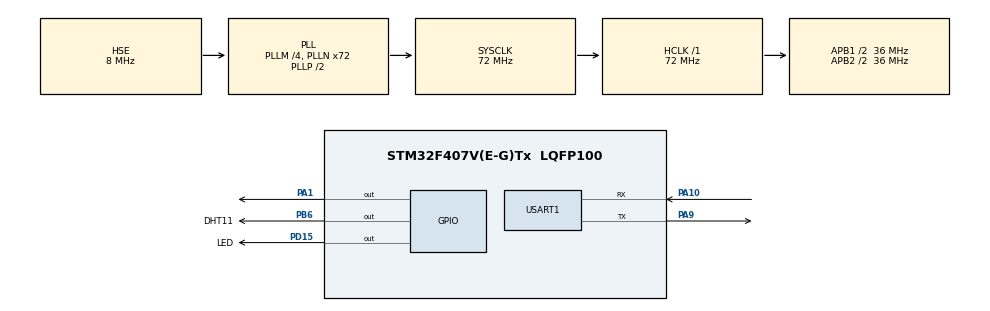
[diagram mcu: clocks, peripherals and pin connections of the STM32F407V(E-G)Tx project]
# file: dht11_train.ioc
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Mcu.Family=STM32F4
Mcu.Name=STM32F407V(E-G)Tx
Mcu.Package=LQFP100
NVIC.PriorityGroup=NVIC_PRIORITYGROUP_0
PA1.Signal=GPIO_Output
PA10.Mode=Asynchronous
PA10.Signal=USART1_RX
PA9.Mode=Asynchronous
PA9.Signal=USART1_TX
PB6.GPIO_Label=DHT11
PB6.Signal=GPIO_Output
PD15.GPIO_Label=LED
PD15.Signal=GPIO_Output
PH0-OSC_IN.Mode=HSE-External-Oscillator
PH0-OSC_IN.Signal=RCC_OSC_IN
PH1-OSC_OUT.Mode=HSE-External-Oscillator
PH1-OSC_OUT.Signal=RCC_OSC_OUT
ProjectManager.HeapSize=0x200
ProjectManager.StackSize=0x400
ProjectManager.TargetToolchain=STM32CubeIDE
RCC.48MHZClocksFreq_Value=20571428.57142857
RCC.AHBFreq_Value=72000000
RCC.APB1CLKDivider=RCC_HCLK_DIV2
RCC.APB1Freq_Value=36000000
RCC.APB1TimFreq_Value=72000000
RCC.APB2CLKDivider=RCC_HCLK_DIV2
RCC.APB2Freq_Value=36000000
RCC.APB2TimFreq_Value=72000000
RCC.CortexFreq_Value=72000000
RCC.HCLKFreq_Value=72000000
RCC.HSE_VALUE=8000000
RCC.HSI_VALUE=16000000
RCC.LSE_VALUE=32768
RCC.PLLM=4
RCC.PLLN=72
RCC.PLLQ=7
RCC.PLLSourceVirtual=RCC_PLLSOURCE_HSE
RCC.SYSCLKFreq_VALUE=72000000
RCC.SYSCLKSource=RCC_SYSCLKSOURCE_PLLCLK
RCC.VCOOutputFreq_Value=144000000
TIM4.Period=65535
TIM4.Prescaler=72
USART1.VirtualMode=VM_ASYNC
VP_TIM4_VS_ClockSourceITR.Mode=TriggerSource_ITR0
board=STM32F407G-DISC1

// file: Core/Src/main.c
/* USER CODE BEGIN Header */
/**
  ******************************************************************************
  * @file           : main.c
  * @brief          : Main program body
  ******************************************************************************
  * @attention
  *
  * <h2><center>&copy; Copyright (c) 2021 STMicroelectronics.
  * All rights reserved.</center></h2>
  *
  * This software component is licensed by ST under BSD 3-Clause license,
  * the "License"; You may not use this file except in compliance with the
  * License. You may obtain a copy of the License at:
  *                        opensource.org/licenses/BSD-3-Clause
  *
  ******************************************************************************
  */
/* USER CODE END Header */
#include "main.h"

/* USER CODE BEGIN Includes */
#include <stdio.h>
/* USER CODE END Includes */

TIM_HandleTypeDef htim4;

UART_HandleTypeDef huart1;

void SystemClock_Config(void);
static void MX_GPIO_Init(void);
static void MX_TIM4_Init(void);
static void MX_USART1_UART_Init(void);

/* USER CODE BEGIN 0 */
char sendBuff[64], sendBuff2[64];
uint8_t recArr[64], recData;
uint8_t buffLen, buffLen2, buffCnt = 0;
//uint8_t dhtval[2];

const char API_KEY[] = "YM62ECVTEWEA0HZ3";
const char WIFI_NAME[] = "Necoooo";
const char WIFI_PASSW[] = "12345678";

#define OUTPUT 1
#define INPUT 0
/*
//set DHT pin direction with given parameter
void set_gpio_mode(uint8_t pMode)
{
	GPIO_InitTypeDef GPIO_InitStruct = {0};

	//if direction parameter OUTPUT
	if(pMode == OUTPUT)
	{
	/*Configure GPIO pins : LD3_Pin LD2_Pin
	  GPIO_InitStruct.Pin = DHT11_Pin;
	  GPIO_InitStruct.Mode = GPIO_MODE_OUTPUT_PP;
	  GPIO_InitStruct.Pull = GPIO_NOPULL;
	  GPIO_InitStruct.Speed = GPIO_SPEED_FREQ_HIGH;
	  HAL_GPIO_Init(GPIOB, &GPIO_InitStruct);
	}else if(pMode == INPUT)   //else if direction parameter INPUT
	{
	  GPIO_InitStruct.Pin = DHT11_Pin;
	  GPIO_InitStruct.Mode = GPIO_MODE_INPUT;
	  GPIO_InitStruct.Pull = GPIO_NOPULL;
	  GPIO_InitStruct.Speed = GPIO_SPEED_FREQ_HIGH;
	  HAL_GPIO_Init(GPIOB, &GPIO_InitStruct);
	}
}

//give microsecond delay
void mDelay(uint32_t mDelay)
{
	uint16_t initTime = (uint16_t)__HAL_TIM_GET_COUNTER(&htim4);			//get initial time
	while(((uint16_t)__HAL_TIM_GET_COUNTER(&htim4)-initTime) < mDelay){		//wait until (time now - inital time == 0)
	}
}

// readDHT11 funciton
uint8_t readDHT11(uint8_t *pData)
{
	uint16_t mTime1 = 0, mTime2 = 0, mBit = 0;
	uint8_t humVal = 0, tempVal = 0, parityVal = 0, genParity = 0;
	uint8_t mData[40];

	//start comm
	set_gpio_mode(OUTPUT);			//set pin direction as input
	HAL_GPIO_WritePin(DHT11_GPIO_Port, DHT11_Pin, GPIO_PIN_RESET);
	HAL_Delay(20);					//wait 20 ms in Low state
	set_gpio_mode(INPUT);			//set pin direction as input

	//check dht answer
	__HAL_TIM_SET_COUNTER(&htim4, 0);				//set timer counter to zero
	while(HAL_GPIO_ReadPin(DHT11_GPIO_Port, DHT11_Pin) == GPIO_PIN_SET) if((uint16_t)__HAL_TIM_GET_COUNTER(&htim4) > 500) return 0;
	__HAL_TIM_SET_COUNTER(&htim4, 0);
	while(HAL_GPIO_ReadPin(DHT11_GPIO_Port, DHT11_Pin) == GPIO_PIN_RESET) if((uint16_t)__HAL_TIM_GET_COUNTER(&htim4) > 500) return 0;
	mTime1 = (uint16_t)__HAL_TIM_GET_COUNTER(&htim4);
	__HAL_TIM_SET_COUNTER(&htim4, 0);
	while(HAL_GPIO_ReadPin(DHT11_GPIO_Port, DHT11_Pin) == GPIO_PIN_SET) if((uint16_t)__HAL_TIM_GET_COUNTER(&htim4) > 500) return 0;
	mTime2 = (uint16_t)__HAL_TIM_GET_COUNTER(&htim4);

	//if answer is wrong return
	if(mTime1 < 75 && mTime1 > 85 && mTime2 < 75 && mTime2 > 85)
	{
		return 0;
	}

	HAL_GPIO_WritePin(LED_GPIO_Port, LED_Pin, GPIO_PIN_RESET);
	for(int j = 0; j < 40; j++)
	{
		__HAL_TIM_SET_COUNTER(&htim4, 0);
		while(HAL_GPIO_ReadPin(DHT11_GPIO_Port, DHT11_Pin) == GPIO_PIN_RESET) if((uint16_t)__HAL_TIM_GET_COUNTER(&htim4) > 500) return 0;
		__HAL_TIM_SET_COUNTER(&htim4, 0);
		while(HAL_GPIO_ReadPin(DHT11_GPIO_Port, DHT11_Pin) == GPIO_PIN_SET) if((uint16_t)__HAL_TIM_GET_COUNTER(&htim4) > 500) return 0;
		mTime1 = (uint16_t)__HAL_TIM_GET_COUNTER(&htim4);

		//check pass time in high state
		//if pass time 25uS set as LOW

		if(mTime1 > 20 && mTime1 < 30)
		{
			mBit = 0;
		}
		else if(mTime1 > 60 && mTime1 < 80) //if pass time 70 uS set as HIGH
		{
			 mBit = 1;
		}

		//set i th data in data buffer
		mData[j] = mBit;

	}

	//get hum value from data buffer
	for(int i = 0; i < 8; i++)
	{
		humVal += mData[i];
		humVal = humVal << 1;
	}

	//get temp value from data buffer
	for(int i = 16; i < 24; i++)
	{
		tempVal += mData[i];
		tempVal = tempVal << 1;
	}

	//get parity value from data buffer
	for(int i = 32; i < 40; i++)
	{
		parityVal += mData[i];
		parityVal = parityVal << 1;
	}

	parityVal = parityVal >> 1;
	humVal = humVal >> 1;
	tempVal = tempVal >> 1;

	genParity = humVal + tempVal;

	if(genParity == parityVal)

	HAL_GPIO_WritePin(LED_GPIO_Port, LED_Pin, GPIO_PIN_SET);

	pData[0] = tempVal;
	pData[1] = humVal;

	return 1;
}
*/
void HAL_UART_RxCpltCallback(UART_HandleTypeDef *huart)
{
	recArr[buffCnt++] = recData;
	if(buffCnt == 64) buffCnt = 0;
	HAL_UART_Receive_IT(&huart1, &recData, 1);
}

/* USER CODE END 0 */

int main(void)
{

  /* MCU Configuration--------------------------------------------------------*/

  /* Reset of all peripherals, Initializes the Flash interface and the Systick. */
  HAL_Init();

  /* Configure the system clock */
  SystemClock_Config();

  /* Initialize all configured peripherals */
  MX_GPIO_Init();
  MX_TIM4_Init();
  MX_USART1_UART_Init();
  /* USER CODE BEGIN 2 */
  HAL_TIM_Base_Start(&htim4);

  // Wifi Connection
  buffLen = sprintf(sendBuff, "AT+CWMODE_CUR=1\r\n");
  HAL_UART_Transmit(&huart1, (uint8_t *)sendBuff, buffLen, 1000);

  buffLen = sprintf(sendBuff, "AT+CWLAP\r\n");
  HAL_UART_Transmit(&huart1, (uint8_t *)sendBuff, buffLen, 1000);

  HAL_Delay(2000);

  buffLen = sprintf(sendBuff, "AT+CWJAP_CUR=\"%s\",\"%s\"\r\n", WIFI_NAME, WIFI_PASSW);
  HAL_UART_Transmit(&huart1, (uint8_t *)sendBuff, buffLen, 1000);

  /* USER CODE END 2 */

  /* Infinite loop */
  /* USER CODE BEGIN WHILE */
  while (1)
  {
	  // check DHT11 is read succesfully
	  if(readDHT11(dhtval) == 1)
	  {
		  // connect Thinkspeak server
		  buffLen = sprintf(sendBuff, "AT+CIPSTART=\"TCP\",\"api.thingspeak.com\",80\r\n");
		  HAL_UART_Transmit(&huart1, (uint8_t *)sendBuff, buffLen, 1000);
		  HAL_Delay(3000);

		  // after connection to Thingspeak prepare data to send
		  buffLen = sprintf(sendBuff, "GET /update?api_key=%s&field1=%d&field2=%d\r\n", API_KEY, dhtval[0], dhtval[1]);
		  buffLen2 = sprintf(sendBuff2, "AT+CIPSEND=%d\r\n", buffLen);

		  // send preapeared buffers to Thingspeak using ESP8266
		  HAL_UART_Transmit(&huart1, (uint8_t *)sendBuff2, buffLen2, 1000);
		  HAL_Delay(1000);
		  HAL_UART_Transmit(&huart1, (uint8_t *)sendBuff, buffLen, 1000);

		  // wait for 30sn to send new data
		  HAL_Delay(30000);
	  }else{
		  HAL_Delay(3000);
	  }

    /* USER CODE END WHILE */

  }
}

void SystemClock_Config(void)
{
  RCC_OscInitTypeDef RCC_OscInitStruct = {0};
  RCC_ClkInitTypeDef RCC_ClkInitStruct = {0};

  /** Configure the main internal regulator output voltage
  */
  __HAL_RCC_PWR_CLK_ENABLE();
  __HAL_PWR_VOLTAGESCALING_CONFIG(PWR_REGULATOR_VOLTAGE_SCALE1);

  /** Initializes the RCC Oscillators according to the specified parameters
  * in the RCC_OscInitTypeDef structure.
  */
  RCC_OscInitStruct.OscillatorType = RCC_OSCILLATORTYPE_HSE;
  RCC_OscInitStruct.HSEState = RCC_HSE_ON;
  RCC_OscInitStruct.PLL.PLLState = RCC_PLL_ON;
  RCC_OscInitStruct.PLL.PLLSource = RCC_PLLSOURCE_HSE;
  RCC_OscInitStruct.PLL.PLLM = 4;
  RCC_OscInitStruct.PLL.PLLN = 72;
  RCC_OscInitStruct.PLL.PLLP = RCC_PLLP_DIV2;
  RCC_OscInitStruct.PLL.PLLQ = 7;
  if (HAL_RCC_OscConfig(&RCC_OscInitStruct) != HAL_OK)
  {
    Error_Handler();
  }

  /** Initializes the CPU, AHB and APB buses clocks
  */
  RCC_ClkInitStruct.ClockType = RCC_CLOCKTYPE_HCLK|RCC_CLOCKTYPE_SYSCLK
                              |RCC_CLOCKTYPE_PCLK1|RCC_CLOCKTYPE_PCLK2;
  RCC_ClkInitStruct.SYSCLKSource = RCC_SYSCLKSOURCE_PLLCLK;
  RCC_ClkInitStruct.AHBCLKDivider = RCC_SYSCLK_DIV1;
  RCC_ClkInitStruct.APB1CLKDivider = RCC_HCLK_DIV2;
  RCC_ClkInitStruct.APB2CLKDivider = RCC_HCLK_DIV2;

  if (HAL_RCC_ClockConfig(&RCC_ClkInitStruct, FLASH_LATENCY_2) != HAL_OK)
  {
    Error_Handler();
  }
}

static void MX_TIM4_Init(void)
{

  TIM_SlaveConfigTypeDef sSlaveConfig = {0};
  TIM_MasterConfigTypeDef sMasterConfig = {0};

  htim4.Instance = TIM4;
  htim4.Init.Prescaler = 72;
  htim4.Init.CounterMode = TIM_COUNTERMODE_UP;
  htim4.Init.Period = 65535;
  htim4.Init.ClockDivision = TIM_CLOCKDIVISION_DIV1;
  htim4.Init.AutoReloadPreload = TIM_AUTORELOAD_PRELOAD_DISABLE;
  if (HAL_TIM_Base_Init(&htim4) != HAL_OK)
  {
    Error_Handler();
  }
  sSlaveConfig.SlaveMode = TIM_SLAVEMODE_DISABLE;
  sSlaveConfig.InputTrigger = TIM_TS_ITR0;
  if (HAL_TIM_SlaveConfigSynchro(&htim4, &sSlaveConfig) != HAL_OK)
  {
    Error_Handler();
  }
  sMasterConfig.MasterOutputTrigger = TIM_TRGO_RESET;
  sMasterConfig.MasterSlaveMode = TIM_MASTERSLAVEMODE_DISABLE;
  if (HAL_TIMEx_MasterConfigSynchronization(&htim4, &sMasterConfig) != HAL_OK)
  {
    Error_Handler();
  }

}

static void MX_USART1_UART_Init(void)
{

  huart1.Instance = USART1;
  huart1.Init.BaudRate = 115200;
  huart1.Init.WordLength = UART_WORDLENGTH_8B;
  huart1.Init.StopBits = UART_STOPBITS_1;
  huart1.Init.Parity = UART_PARITY_NONE;
  huart1.Init.Mode = UART_MODE_TX_RX;
  huart1.Init.HwFlowCtl = UART_HWCONTROL_NONE;
  huart1.Init.OverSampling = UART_OVERSAMPLING_16;
  if (HAL_UART_Init(&huart1) != HAL_OK)
  {
    Error_Handler();
  }

}

static void MX_GPIO_Init(void)
{
  GPIO_InitTypeDef GPIO_InitStruct = {0};

  /* GPIO Ports Clock Enable */
  __HAL_RCC_GPIOH_CLK_ENABLE();
  __HAL_RCC_GPIOA_CLK_ENABLE();
  __HAL_RCC_GPIOD_CLK_ENABLE();
  __HAL_RCC_GPIOB_CLK_ENABLE();

  /*Configure GPIO pin Output Level */
  HAL_GPIO_WritePin(GPIOA, GPIO_PIN_1, GPIO_PIN_RESET);

  /*Configure GPIO pin Output Level */
  HAL_GPIO_WritePin(LED_GPIO_Port, LED_Pin, GPIO_PIN_RESET);

  /*Configure GPIO pin Output Level */
  HAL_GPIO_WritePin(DHT11_GPIO_Port, DHT11_Pin, GPIO_PIN_RESET);

  /*Configure GPIO pin : PA1 */
  GPIO_InitStruct.Pin = GPIO_PIN_1;
  GPIO_InitStruct.Mode = GPIO_MODE_OUTPUT_PP;
  GPIO_InitStruct.Pull = GPIO_NOPULL;
  GPIO_InitStruct.Speed = GPIO_SPEED_FREQ_LOW;
  HAL_GPIO_Init(GPIOA, &GPIO_InitStruct);

  /*Configure GPIO pin : LED_Pin */
  GPIO_InitStruct.Pin = LED_Pin;
  GPIO_InitStruct.Mode = GPIO_MODE_OUTPUT_PP;
  GPIO_InitStruct.Pull = GPIO_NOPULL;
  GPIO_InitStruct.Speed = GPIO_SPEED_FREQ_LOW;
  HAL_GPIO_Init(LED_GPIO_Port, &GPIO_InitStruct);

  /*Configure GPIO pin : DHT11_Pin */
  GPIO_InitStruct.Pin = DHT11_Pin;
  GPIO_InitStruct.Mode = GPIO_MODE_OUTPUT_PP;
  GPIO_InitStruct.Pull = GPIO_NOPULL;
  GPIO_InitStruct.Speed = GPIO_SPEED_FREQ_LOW;
  HAL_GPIO_Init(DHT11_GPIO_Port, &GPIO_InitStruct);

}

void Error_Handler(void)
{
  __disable_irq();
  while (1)
  {
  }
}
